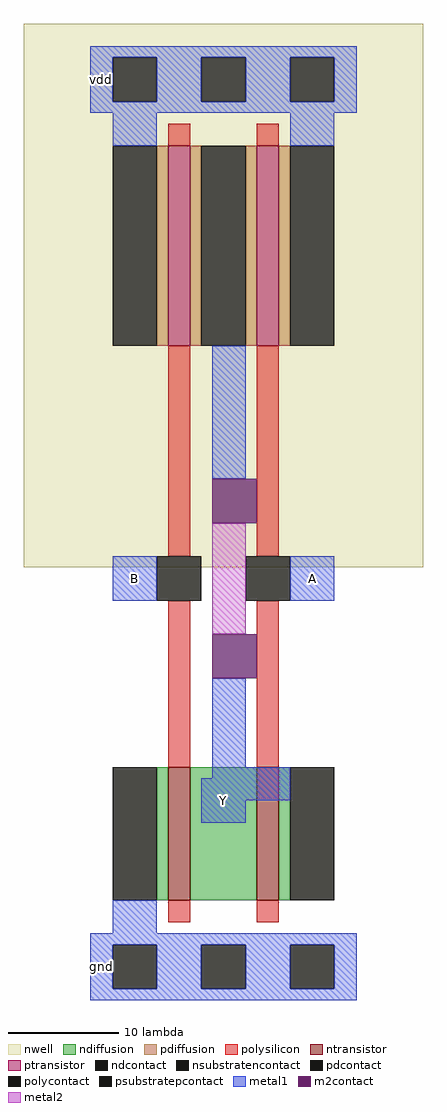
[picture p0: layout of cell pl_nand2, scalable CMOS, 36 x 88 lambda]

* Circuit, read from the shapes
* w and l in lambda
.subckt pl_nand2 A B Y vdd gnd
M1 n1 B gnd gnd nfet w=12 l=2
M2 Y A n1 gnd nfet w=12 l=2
M3 Y B vdd vdd pfet w=18 l=2
M4 vdd A Y vdd pfet w=18 l=2
.ends

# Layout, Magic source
magic
tech scmos
<< nwell >>
rect -6 36 30 85
<< ndiffusion >>
rect 6 6 7 18
rect 9 6 15 18
rect 17 6 18 18
<< pdiffusion >>
rect 6 56 7 74
rect 9 56 10 74
rect 14 56 15 74
rect 17 56 18 74
<< polysilicon >>
rect 7 4 9 6
rect 15 4 17 6
rect 7 18 9 33
rect 15 18 17 33
rect 7 37 9 56
rect 15 37 17 56
rect 7 74 9 76
rect 15 74 17 76
<< ntransistor >>
rect 7 6 9 18
rect 15 6 17 18
<< ptransistor >>
rect 7 56 9 74
rect 15 56 17 74
<< ndcontact >>
rect 2 6 6 18
rect 18 6 22 18
<< pdcontact >>
rect 2 56 6 74
rect 10 56 14 74
rect 18 56 22 74
<< polycontact >>
rect 6 33 10 37
rect 14 33 18 37
<< psubstratepcontact >>
rect 2 -2 6 2
rect 10 -2 14 2
rect 18 -2 22 2
<< nsubstratencontact >>
rect 2 78 6 82
rect 10 78 14 82
rect 18 78 22 82
<< metal1 >>
rect 0 -3 24 -2
rect 0 -2 2 2
rect 6 -2 10 2
rect 14 -2 18 2
rect 22 -2 24 2
rect 0 2 24 3
rect 2 3 6 6
rect 10 13 14 15
rect 10 15 18 17
rect 11 17 18 18
rect 11 18 14 26
rect 2 33 6 37
rect 18 33 22 37
rect 11 44 14 56
rect 2 74 6 77
rect 18 74 22 77
rect 0 77 24 78
rect 0 78 2 82
rect 6 78 10 82
rect 14 78 18 82
rect 22 78 24 82
rect 0 82 24 83
<< m2contact >>
rect 11 26 15 30
rect 11 40 15 44
<< metal2 >>
rect 11 30 14 40
<< labels >>
rlabel metal1 s 18 33 22 37 0 A
port 1 nsew signal input
rlabel metal1 s 2 33 6 37 0 B
port 2 nsew signal input
rlabel metal1 s 10 13 14 17 0 Y
port 3 nsew signal output
rlabel metal1 s 0 77 2 83 0 vdd
port 4 nsew power bidirectional
rlabel metal1 s 0 -3 2 3 0 gnd
port 5 nsew ground bidirectional
<< properties >>
string FIXED_BBOX 0 0 24 80
<< end >>
